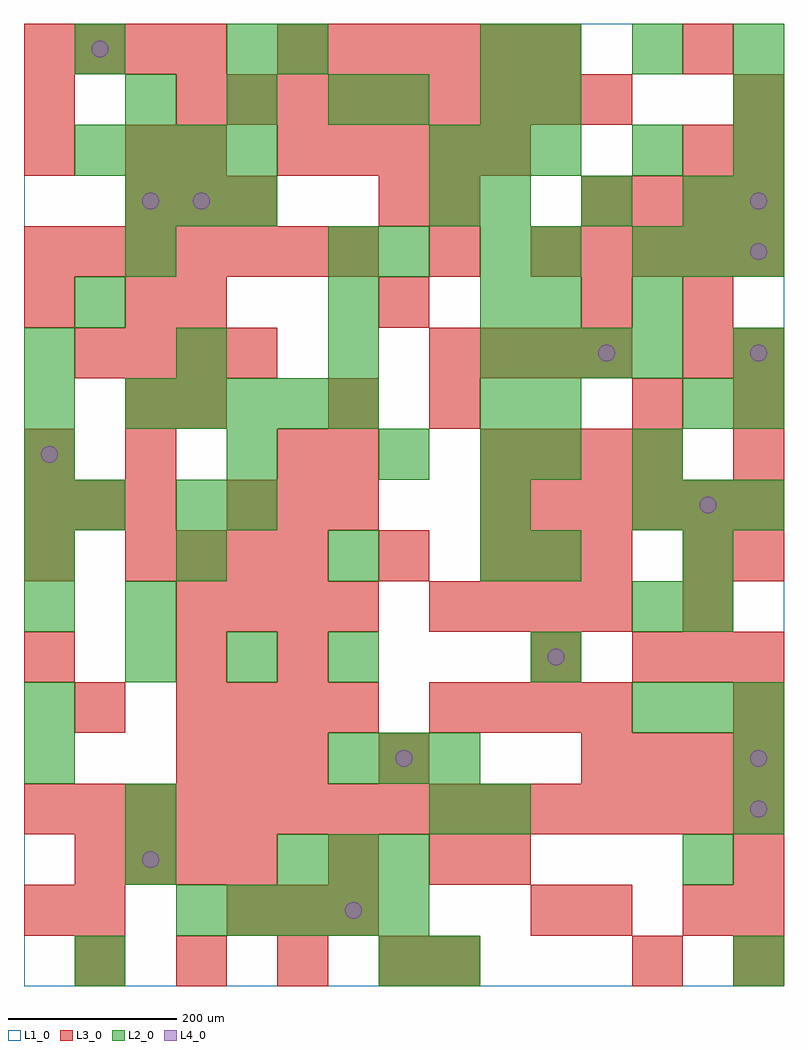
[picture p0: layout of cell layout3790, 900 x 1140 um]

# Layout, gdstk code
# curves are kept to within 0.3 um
import gdstk
lib = gdstk.Library(unit=1e-6, precision=1e-09)
def R(c, l, rs):  # rectangles x0, y0, x1, y1
    for r in rs: c.add(gdstk.rectangle(r[:2], r[2:], *l))
def A(c, l, x, y, w, h, nx, ny, dx, dy):  # array of equal rectangles
    R(c, l, [(x+i*dx, y+j*dy, x+i*dx+w, y+j*dy+h) for i in range(nx) for j in range(ny)])
def P(c, l, *ps):  # polygons
    for p in ps: c.add(gdstk.Polygon(p, *l))
L1_0 = (1, 0)
L2_0 = (2, 0)
L3_0 = (3, 0)
L4_0 = (4, 0)

layout3790 = lib.new_cell('layout3790')
R(layout3790, L1_0, [(0,0,900,1140)])
A(layout3790, L2_0, 180, 60, 60, 60, 5, 1, 60, 0)
A(layout3790, L2_0, 300, 120, 60, 60, 3, 1, 60, 0)
A(layout3790, L2_0, 360, 240, 60, 60, 3, 1, 60, 0)
A(layout3790, L2_0, 0, 300, 60, 60, 1, 3, 0, 120)
A(layout3790, L2_0, 720, 300, 60, 60, 3, 2, 60, 240)
A(layout3790, L2_0, 120, 360, 60, 60, 3, 2, 120, 660)
A(layout3790, L2_0, 600, 360, 60, 60, 1, 3, 0, 120)
A(layout3790, L2_0, 720, 420, 60, 60, 1, 4, 0, 180)
A(layout3790, L2_0, 0, 480, 60, 60, 4, 2, 180, 240)
A(layout3790, L2_0, 540, 540, 60, 60, 1, 3, 0, 60)
A(layout3790, L2_0, 120, 660, 60, 60, 5, 1, 60, 0)
A(layout3790, L2_0, 600, 720, 60, 60, 3, 1, 60, 0)
A(layout3790, L2_0, 720, 840, 60, 60, 3, 1, 60, 0)
A(layout3790, L2_0, 120, 900, 60, 60, 3, 1, 60, 0)
A(layout3790, L2_0, 540, 900, 60, 60, 3, 1, 120, 0)
A(layout3790, L2_0, 840, 900, 60, 60, 1, 3, 0, 60)
A(layout3790, L2_0, 60, 960, 60, 60, 4, 1, 60, 0)
A(layout3790, L2_0, 480, 960, 60, 60, 3, 1, 60, 0)
A(layout3790, L2_0, 600, 1080, 60, 60, 3, 1, 120, 0)
R(layout3790, L2_0, [(60,0,120,60), (420,0,480,60), (480,0,540,60), (840,0,900,60), (120,120,180,180), (780,120,840,180), (120,180,180,240), (480,180,540,240), (540,180,600,240), (840,180,900,240), (0,240,60,300), (840,240,900,300), (120,420,180,480), (780,420,840,480), (780,480,840,540), (60,540,120,600), (180,540,240,600), (240,540,300,600), (0,600,60,660), (240,600,300,660), (420,600,480,660), (0,660,60,720), (600,660,660,720), (780,660,840,720), (840,660,900,720), (840,720,900,780), (60,780,120,840), (360,780,420,840), (540,780,600,840), (600,780,660,840), (120,840,180,900), (360,840,420,900), (420,840,480,900), (540,840,600,900), (600,840,660,900), (480,900,540,960), (420,1020,480,1080), (540,1020,600,1080), (600,1020,660,1080), (60,1080,120,1140), (240,1080,300,1140), (300,1080,360,1140), (540,1080,600,1140)])
A(layout3790, L3_0, 60, 0, 60, 60, 4, 1, 120, 0)
A(layout3790, L3_0, 840, 0, 60, 60, 1, 3, 0, 60)
A(layout3790, L3_0, 240, 60, 60, 60, 3, 2, 60, 480)
A(layout3790, L3_0, 60, 120, 60, 60, 4, 2, 60, 600)
A(layout3790, L3_0, 0, 180, 60, 60, 15, 1, 60, 0)
A(layout3790, L3_0, 180, 240, 60, 60, 3, 1, 60, 0)
A(layout3790, L3_0, 660, 240, 60, 60, 4, 2, 60, 660)
A(layout3790, L3_0, 180, 300, 60, 60, 4, 2, 60, 120)
A(layout3790, L3_0, 480, 300, 60, 60, 4, 2, 60, 120)
A(layout3790, L3_0, 0, 360, 60, 60, 1, 3, 0, 120)
A(layout3790, L3_0, 180, 360, 60, 60, 1, 3, 0, 300)
A(layout3790, L3_0, 720, 360, 60, 60, 3, 1, 60, 0)
A(layout3790, L3_0, 120, 480, 60, 60, 4, 1, 60, 0)
A(layout3790, L3_0, 540, 480, 60, 60, 3, 1, 60, 0)
A(layout3790, L3_0, 0, 540, 60, 60, 3, 1, 60, 0)
A(layout3790, L3_0, 540, 540, 60, 60, 6, 1, 60, 0)
A(layout3790, L3_0, 540, 600, 60, 60, 4, 1, 60, 0)
A(layout3790, L3_0, 840, 600, 60, 60, 1, 3, 0, 60)
A(layout3790, L3_0, 480, 720, 60, 60, 4, 1, 60, 0)
A(layout3790, L3_0, 180, 780, 60, 60, 3, 1, 240, 0)
A(layout3790, L3_0, 0, 840, 60, 60, 7, 1, 60, 0)
A(layout3790, L3_0, 600, 840, 60, 60, 5, 1, 60, 0)
A(layout3790, L3_0, 120, 900, 60, 60, 3, 1, 60, 0)
A(layout3790, L3_0, 300, 960, 60, 60, 5, 1, 60, 0)
A(layout3790, L3_0, 180, 1020, 60, 60, 9, 1, 60, 0)
A(layout3790, L3_0, 0, 1080, 60, 60, 4, 1, 60, 0)
A(layout3790, L3_0, 300, 1080, 60, 60, 6, 1, 60, 0)
R(layout3790, L3_0, [(480,0,540,60), (720,0,780,60), (0,60,60,120), (60,60,120,120), (600,60,660,120), (660,60,720,120), (780,60,840,120), (360,120,420,180), (480,120,540,180), (540,120,600,180), (420,240,480,300), (60,300,120,360), (840,300,900,360), (300,360,360,420), (600,360,660,420), (780,420,840,480), (420,480,480,540), (780,480,840,540), (840,480,900,540), (120,600,180,660), (300,600,360,660), (360,600,420,660), (120,660,180,720), (360,660,420,720), (480,660,540,720), (720,660,780,720), (780,720,840,780), (0,780,60,840), (120,780,180,840), (780,780,840,840), (480,840,540,900), (420,900,480,960), (480,900,540,960), (0,960,60,1020), (120,960,180,1020), (780,960,840,1020), (840,960,900,1020), (0,1020,60,1080), (840,1020,900,1080), (780,1080,840,1140)])
P(layout3790, L4_0, [(40,630),(39.239,633.827),(37.071,637.071),(33.827,639.239),(30,640),(26.173,639.239),(22.929,637.071),(20.761,633.827),(20,630),(20.761,626.173),(22.929,622.929),(26.173,620.761),(30,620),(33.827,620.761),(37.071,622.929),(39.239,626.173)],
  [(100,1110),(99.239,1113.827),(97.071,1117.071),(93.827,1119.239),(90,1120),(86.173,1119.239),(82.929,1117.071),(80.761,1113.827),(80,1110),(80.761,1106.173),(82.929,1102.929),(86.173,1100.761),(90,1100),(93.827,1100.761),(97.071,1102.929),(99.239,1106.173)],
  [(160,150),(159.239,153.827),(157.071,157.071),(153.827,159.239),(150,160),(146.173,159.239),(142.929,157.071),(140.761,153.827),(140,150),(140.761,146.173),(142.929,142.929),(146.173,140.761),(150,140),(153.827,140.761),(157.071,142.929),(159.239,146.173)],
  [(160,930),(159.239,933.827),(157.071,937.071),(153.827,939.239),(150,940),(146.173,939.239),(142.929,937.071),(140.761,933.827),(140,930),(140.761,926.173),(142.929,922.929),(146.173,920.761),(150,920),(153.827,920.761),(157.071,922.929),(159.239,926.173)],
  [(220,930),(219.239,933.827),(217.071,937.071),(213.827,939.239),(210,940),(206.173,939.239),(202.929,937.071),(200.761,933.827),(200,930),(200.761,926.173),(202.929,922.929),(206.173,920.761),(210,920),(213.827,920.761),(217.071,922.929),(219.239,926.173)],
  [(400,90),(399.239,93.827),(397.071,97.071),(393.827,99.239),(390,100),(386.173,99.239),(382.929,97.071),(380.761,93.827),(380,90),(380.761,86.173),(382.929,82.929),(386.173,80.761),(390,80),(393.827,80.761),(397.071,82.929),(399.239,86.173)],
  [(460,270),(459.239,273.827),(457.071,277.071),(453.827,279.239),(450,280),(446.173,279.239),(442.929,277.071),(440.761,273.827),(440,270),(440.761,266.173),(442.929,262.929),(446.173,260.761),(450,260),(453.827,260.761),(457.071,262.929),(459.239,266.173)],
  [(640,390),(639.239,393.827),(637.071,397.071),(633.827,399.239),(630,400),(626.173,399.239),(622.929,397.071),(620.761,393.827),(620,390),(620.761,386.173),(622.929,382.929),(626.173,380.761),(630,380),(633.827,380.761),(637.071,382.929),(639.239,386.173)],
  [(700,750),(699.239,753.827),(697.071,757.071),(693.827,759.239),(690,760),(686.173,759.239),(682.929,757.071),(680.761,753.827),(680,750),(680.761,746.173),(682.929,742.929),(686.173,740.761),(690,740),(693.827,740.761),(697.071,742.929),(699.239,746.173)],
  [(820,570),(819.239,573.827),(817.071,577.071),(813.827,579.239),(810,580),(806.173,579.239),(802.929,577.071),(800.761,573.827),(800,570),(800.761,566.173),(802.929,562.929),(806.173,560.761),(810,560),(813.827,560.761),(817.071,562.929),(819.239,566.173)],
  [(880,210),(879.239,213.827),(877.071,217.071),(873.827,219.239),(870,220),(866.173,219.239),(862.929,217.071),(860.761,213.827),(860,210),(860.761,206.173),(862.929,202.929),(866.173,200.761),(870,200),(873.827,200.761),(877.071,202.929),(879.239,206.173)],
  [(880,270),(879.239,273.827),(877.071,277.071),(873.827,279.239),(870,280),(866.173,279.239),(862.929,277.071),(860.761,273.827),(860,270),(860.761,266.173),(862.929,262.929),(866.173,260.761),(870,260),(873.827,260.761),(877.071,262.929),(879.239,266.173)],
  [(880,750),(879.239,753.827),(877.071,757.071),(873.827,759.239),(870,760),(866.173,759.239),(862.929,757.071),(860.761,753.827),(860,750),(860.761,746.173),(862.929,742.929),(866.173,740.761),(870,740),(873.827,740.761),(877.071,742.929),(879.239,746.173)],
  [(880,870),(879.239,873.827),(877.071,877.071),(873.827,879.239),(870,880),(866.173,879.239),(862.929,877.071),(860.761,873.827),(860,870),(860.761,866.173),(862.929,862.929),(866.173,860.761),(870,860),(873.827,860.761),(877.071,862.929),(879.239,866.173)],
  [(880,930),(879.239,933.827),(877.071,937.071),(873.827,939.239),(870,940),(866.173,939.239),(862.929,937.071),(860.761,933.827),(860,930),(860.761,926.173),(862.929,922.929),(866.173,920.761),(870,920),(873.827,920.761),(877.071,922.929),(879.239,926.173)])

lib.write_gds('layout3790.gds')
